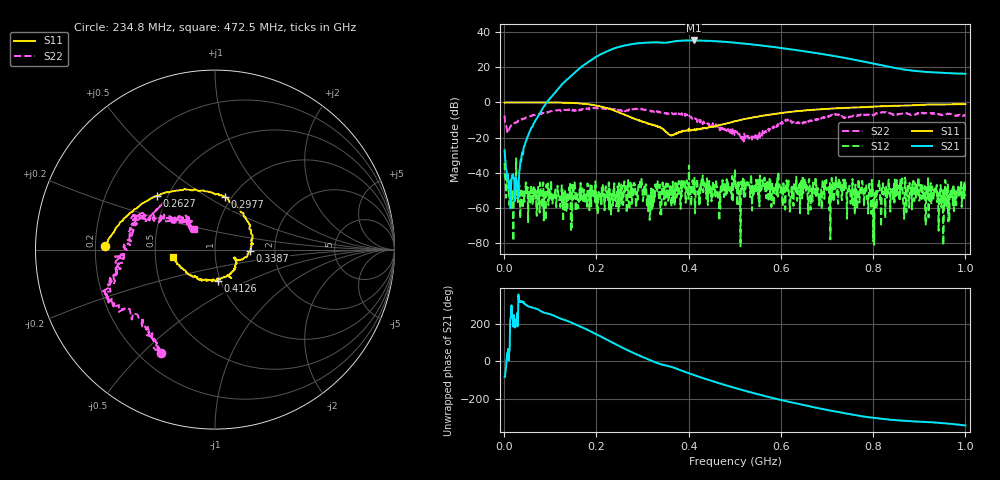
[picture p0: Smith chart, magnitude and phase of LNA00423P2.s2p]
! Created with skrf 1.9.0 (http://scikit-rf.org).
# Hz S RI R 50.0
!freq ReS11 ImS11 ReS21 ImS21 ReS12 ImS12 ReS22 ImS22
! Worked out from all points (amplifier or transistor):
!   1001 points, 1 MHz to 1 GHz, reference 50 ohm
!   highest |S21| = 35.2 dB at 410.6 MHz (marker M1)
!   |S21| within 3 dB of that: 259.7 MHz to 562.8 MHz (303.1 MHz wide, 73.7 % of centre)
!   unconditionally stable (mu >= 1): 227 MHz to 297.7 MHz; 297.7 MHz to 400.3 MHz; 401 MHz to end of sweep (the widest 3 of 42)
!   at 166.8 MHz: K = 2.90, MAG = 30.1 dB, |S12| = -55.2 dB
!   at 500.5 MHz: K = 1.00, MAG = 35.6 dB, |S12| = -38.0 dB
!   at 1 GHz: K = 5.08, MAG = 24.6 dB, |S12| = -53.0 dB
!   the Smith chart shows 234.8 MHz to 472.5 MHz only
!   S11 on the Smith chart (normalised r, x): 234.8 MHz: 0.24, +0.02; 262.7 MHz: 0.44, +0.33; 297.7 MHz: 0.93, +0.60; 338.7 MHz: 1.48, -0.03; 412.6 MHz: 0.97, -0.35; 472.5 MHz: 0.62, -0.05
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1000000  0.9728 -0.00417  0.00514 -0.0434  -0.0188 0.0038  0.3287 0.2695
1.08892e8  0.5253 -0.8447  -0.8477 -1.591  -7.98e-05 0.00194  0.4251 -0.3848
1.67833e8  -0.2246 -0.8986  -10.25 -0.4466  0.0031 -0.000191  0.042 -0.6388
2.06794e8  -0.6429 -0.4424  -16.05 15.58  -0.00124 -0.00112  -0.1878 -0.6634
2.34766e8  -0.6118 0.0208  -5.553 32.24  0.00248 0.00139  -0.3011 -0.5786
2.62738e8  -0.3237 0.2994  17.33 37.49  -0.00306 0.000229  -0.4317 -0.3618
2.97703e8  0.0572 0.2932  43.6 20.83  -0.00598 0.00316  -0.6094 -0.2509
3.17683e8  0.1821 0.1566  50 4.356  -0.000977 0.00157  -0.5658 -0.1412
3.34666e8  0.2036 0.0231  49.37 -9.505  -0.00294 -0.00103  -0.5512 -0.0487
3.38662e8  0.1931 -0.00962  48.18 -12.47  -0.00066 0.000132  -0.5203 -0.026
3.73627e8  0.1147 -0.0607  42.91 -34.63  0.00113 -0.00164  -0.424 0.1677
4.1059e8  0.0266 -0.1638  17.45 -54.53  0.00107 0.00241  -0.3053 0.1611
4.12588e8  0.0151 -0.1733  16.03 -54.67  0.00147 0.00715  -0.2753 0.1762
4.41559e8  -0.1171 -0.1527  -7.307 -55.44  0.000986 0.00073  -0.1791 0.1799
4.72528e8  -0.2316 -0.0396  -26.9 -45.24  0.00312 -0.00141  -0.1155 0.1134
5.005e8  -0.2783 0.1051  -39.01 -30.84  0.00987 0.00784  -0.0844 0.0791
5.4046e8  -0.2179 0.309  -42.81 -8.584  0.00412 0.000249  -0.1057 -0.0229
5.88412e8  -0.0352 0.4738  -34.84 11.83  -0.000422 -0.00331  -0.1982 -0.0983
6.67333e8  0.3252 0.5208  -12.07 23.08  0.00116 -0.0038  -0.2995 -0.0461
7.49251e8  0.5974 0.3771  3.186 16.88  -0.00224 -0.00368  -0.3799 0.0566
8.34166e8  0.7706 0.1594  6.574 7.924  0.0019 -0.00622  -0.4559 0.2033
1e9  0.8235 -0.3662  6.174 2.12  -0.000832 0.00208  -0.0912 0.4063
